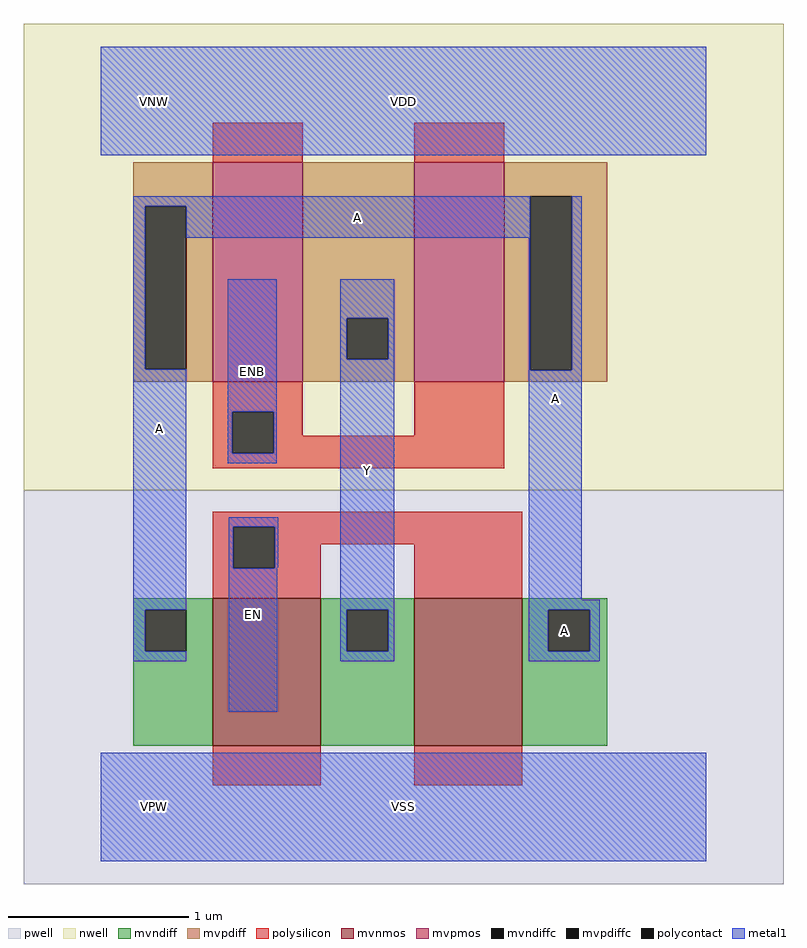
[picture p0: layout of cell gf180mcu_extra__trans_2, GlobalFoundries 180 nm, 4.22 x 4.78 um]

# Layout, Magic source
magic
tech gf180mcuD
magscale 1 10
<< nwell >>
rect -86 352 758 870
<< pwell >>
rect -86 -86 758 352
<< mvnmos >>
rect 124 68 244 232
rect 348 68 468 232
<< mvpmos >>
rect 124 472 224 716
rect 348 472 448 716
<< mvndiff >>
rect 36 219 124 232
rect 36 173 49 219
rect 95 173 124 219
rect 36 68 124 173
rect 244 219 348 232
rect 244 173 273 219
rect 319 173 348 219
rect 244 68 348 173
rect 468 219 562 232
rect 468 173 497 219
rect 543 173 562 219
rect 468 68 562 173
<< mvpdiff >>
rect 36 667 124 716
rect 36 486 49 667
rect 95 486 124 667
rect 36 472 124 486
rect 224 543 348 716
rect 224 497 273 543
rect 319 497 348 543
rect 224 472 348 497
rect 448 678 562 716
rect 448 485 477 678
rect 523 485 562 678
rect 448 472 562 485
<< mvndiffc >>
rect 49 173 95 219
rect 273 173 319 219
rect 497 173 543 219
<< mvpdiffc >>
rect 49 486 95 667
rect 273 497 319 543
rect 477 485 523 678
<< polysilicon >>
rect 124 716 224 760
rect 348 716 448 760
rect 124 439 224 472
rect 124 393 146 439
rect 192 412 224 439
rect 348 412 448 472
rect 192 393 448 412
rect 124 376 448 393
rect 124 311 468 328
rect 124 265 147 311
rect 193 292 468 311
rect 193 265 244 292
rect 124 232 244 265
rect 348 232 468 292
rect 124 24 244 68
rect 348 24 468 68
<< polycontact >>
rect 146 393 192 439
rect 147 265 193 311
<< metal1 >>
rect 0 724 672 844
rect 36 667 477 678
rect 36 486 49 667
rect 95 632 477 667
rect 36 219 95 486
rect 141 439 195 586
rect 141 393 146 439
rect 192 393 195 439
rect 141 382 195 393
rect 266 543 326 586
rect 266 497 273 543
rect 319 497 326 543
rect 36 173 49 219
rect 36 162 95 173
rect 142 311 197 322
rect 142 265 147 311
rect 193 266 197 311
rect 193 265 196 266
rect 142 106 196 265
rect 266 219 326 497
rect 266 173 273 219
rect 319 173 326 219
rect 266 162 326 173
rect 475 485 477 632
rect 523 485 534 678
rect 475 230 534 485
rect 475 219 554 230
rect 475 173 497 219
rect 543 173 554 219
rect 475 162 554 173
rect 0 -60 672 60
<< labels >>
flabel metal1 s 0 724 672 844 0 FreeSans 400 0 0 0 VDD
port 3 nsew power bidirectional abutment
flabel nwell s 10 734 110 834 0 FreeSans 400 0 0 0 VNW
port 4 nsew power bidirectional
flabel pwell s 10 -50 110 50 0 FreeSans 400 0 0 0 VPW
port 5 nsew ground bidirectional
flabel metal1 s 0 -60 672 60 0 FreeSans 400 0 0 0 VSS
port 6 nsew ground bidirectional abutment
flabel metal1 36 162 95 678 0 FreeSans 200 0 0 0 A
port 2 nsew signal input
flabel metal1 266 162 326 586 0 FreeSans 200 0 0 0 Y
port 1 nsew signal output
flabel nwell 141 382 195 586 0 FreeSans 200 0 0 0 ENB
port 7 nsew signal input
flabel pwell 142 106 197 322 0 FreeSans 200 0 0 0 EN
port 8 nsew signal input
flabel pwell 475 162 554 230 0 FreeSans 200 0 0 0 A
port 2 nsew signal input
flabel metal1 475 230 534 678 0 FreeSans 200 0 0 0 A
port 2 nsew signal input
flabel metal1 95 632 475 678 0 FreeSans 200 0 0 0 A
port 2 nsew signal input
<< properties >>
string FIXED_BBOX 0 0 672 784
string LEFclass core
string LEFsite GF018hv5v_mcu_sc7
string LEFsymmetry X Y
<< end >>
